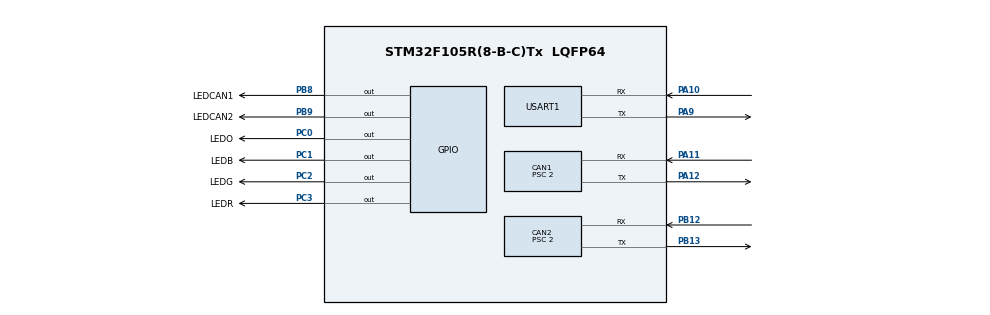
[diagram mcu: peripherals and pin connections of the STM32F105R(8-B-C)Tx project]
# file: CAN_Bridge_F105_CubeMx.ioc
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CAN1.BS1=CAN_BS1_13TQ
CAN1.BS2=CAN_BS2_2TQ
CAN1.CalculateTimeBit=4000
CAN1.CalculateTimeQuantum=250.0
CAN1.Prescaler=2
CAN2.BS1=CAN_BS1_13TQ
CAN2.BS2=CAN_BS2_2TQ
CAN2.CalculateTimeBit=4000
CAN2.CalculateTimeQuantum=250.0
CAN2.Prescaler=2
Mcu.Family=STM32F1
Mcu.Name=STM32F105R(8-B-C)Tx
Mcu.Package=LQFP64
NVIC.CAN1_RX0_IRQn=true\:0\:0\:false\:true\:true\:1\:true\:true
NVIC.CAN2_RX0_IRQn=true\:0\:0\:false\:true\:true\:2\:true\:true
NVIC.PriorityGroup=NVIC_PRIORITYGROUP_4
PA10.Mode=Asynchronous
PA10.Signal=USART1_RX
PA11.Mode=Master
PA11.Signal=CAN1_RX
PA12.Mode=Master
PA12.Signal=CAN1_TX
PA13.Signal=SYS_JTMS-SWDIO
PA14.Signal=SYS_JTCK-SWCLK
PA9.Mode=Asynchronous
PA9.Signal=USART1_TX
PB12.Mode=Slave
PB12.Signal=CAN2_RX
PB13.Mode=Slave
PB13.Signal=CAN2_TX
PB8.GPIO_Label=LEDCAN1
PB8.Signal=GPIO_Output
PB9.GPIO_Label=LEDCAN2
PB9.Signal=GPIO_Output
PC0.GPIO_Label=LEDO
PC0.Signal=GPIO_Output
PC1.GPIO_Label=LEDB
PC1.Signal=GPIO_Output
PC14-OSC32_IN.Mode=LSE-External-Oscillator
PC14-OSC32_IN.Signal=RCC_OSC32_IN
PC15-OSC32_OUT.Mode=LSE-External-Oscillator
PC15-OSC32_OUT.Signal=RCC_OSC32_OUT
PC2.GPIO_Label=LEDG
PC2.Signal=GPIO_Output
PC3.GPIO_Label=LEDR
PC3.Signal=GPIO_Output
PD0-OSC_IN.Mode=HSE-External-Oscillator
PD0-OSC_IN.Signal=RCC_OSC_IN
PD1-OSC_OUT.Mode=HSE-External-Oscillator
PD1-OSC_OUT.Signal=RCC_OSC_OUT
ProjectManager.HeapSize=0x200
ProjectManager.StackSize=0x400
ProjectManager.TargetToolchain=STM32CubeIDE
RCC.HSE_VALUE=25000000
RCC.USBFreq_Value=10666666.666666666
USART1.VirtualMode=VM_ASYNC
VP_SYS_VS_ND.Mode=No_Debug
board=custom

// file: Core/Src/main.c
/* USER CODE BEGIN Header */
/**
  ******************************************************************************
  * @file           : main.c
  * @brief          : Main program body
  ******************************************************************************
  * @attention
  *
  * <h2><center>&copy; Copyright (c) 2020 STMicroelectronics.
  * All rights reserved.</center></h2>
  *
  * This software component is licensed by ST under BSD 3-Clause license,
  * the "License"; You may not use this file except in compliance with the
  * License. You may obtain a copy of the License at:
  *                        opensource.org/licenses/BSD-3-Clause
  *
  ******************************************************************************
  */
/* USER CODE END Header */

#include "main.h"
#include "can.h"
#include "usart.h"
#include "gpio.h"
#include "string.h"

/* USER CODE BEGIN PV */

CAN_TxHeaderTypeDef   TxHeader1;
CAN_TxHeaderTypeDef   TxHeader2;
CAN_RxHeaderTypeDef   RxHeader1;
CAN_RxHeaderTypeDef   RxHeader2;
uint8_t               TxData1[8];
uint8_t               TxData2[8];
uint8_t               RxData1[8];
uint8_t               RxData2[8];
uint32_t              TxMailbox1;
uint32_t              TxMailbox2;

/* USER CODE END PV */

void SystemClock_Config(void);
/* USER CODE BEGIN PFP */
/* UART handler declaration */
UART_HandleTypeDef UartHandle;

/* Private function prototypes -----------------------------------------------*/
#ifdef __GNUC__
  /* With GCC/RAISONANCE, small printf (option LD Linker->Libraries->Small printf
     set to 'Yes') calls __io_putchar() */
  #define PUTCHAR_PROTOTYPE int __io_putchar(int ch)
#else
  #define PUTCHAR_PROTOTYPE int fputc(int ch, FILE *f)
#endif /* __GNUC__ */
/**
  * @brief  Retargets the C library printf function to the USART.
  * @param  None
  * @retval None
  */
PUTCHAR_PROTOTYPE
{
  /* Place your implementation of fputc here */
  /* e.g. write a character to the EVAL_COM1 and Loop until the end of transmission */
  HAL_UART_Transmit(&huart1, (uint8_t *)&ch, 1, 0xFFFF);

  return ch;
}
void debugPrint();
void debugPrintln();

/* USER CODE END PFP */

int main(void)
{

  /* MCU Configuration--------------------------------------------------------*/

  /* Reset of all peripherals, Initializes the Flash interface and the Systick. */
  HAL_Init();

  /* Configure the system clock */
  SystemClock_Config();

  /* Initialize all configured peripherals */
  MX_GPIO_Init();
  MX_CAN1_Init();
  MX_CAN2_Init();
  MX_USART1_UART_Init();
  /* USER CODE BEGIN 2 */

  //HAL_CAN_Start(&hcan1);
  uint8_t count = 0;

  /* Output a message on Hyperterminal using printf function */
  printf("\n\r UART Printf Example: retarget the C library printf function to the UART\n\r");
  printf("** Test finished successfully. ** \n\r");

  /* Configure Transmission process */
  TxHeader1.StdId = 0x321;
  TxHeader1.ExtId = 0x01;
  TxHeader1.RTR = CAN_RTR_DATA;
  TxHeader1.IDE = CAN_ID_STD;
  TxHeader1.DLC = 2;
  TxHeader1.TransmitGlobalTime = DISABLE;

  /* Configure Transmission process */
  TxHeader2.StdId = 0x322;
  TxHeader2.ExtId = 0x01;
  TxHeader2.RTR = CAN_RTR_DATA;
  TxHeader2.IDE = CAN_ID_STD;
  TxHeader2.DLC = 2;
  TxHeader2.TransmitGlobalTime = DISABLE;

  HAL_GPIO_TogglePin(LEDR_GPIO_Port,LEDR_Pin); //Toggle LED
  HAL_Delay(250); //Delay 1 Seconds

  HAL_GPIO_TogglePin(LEDG_GPIO_Port,LEDG_Pin); //Toggle LED
  HAL_Delay(250); //Delay 1 Seconds

  HAL_GPIO_TogglePin(LEDB_GPIO_Port,LEDB_Pin); //Toggle LED
  HAL_Delay(250); //Delay 1 Seconds

  HAL_GPIO_TogglePin(LEDO_GPIO_Port,LEDO_Pin); //Toggle LED
  HAL_Delay(250); //Delay 1 Seconds

  HAL_GPIO_TogglePin(LEDCAN1_GPIO_Port,LEDCAN1_Pin); //Toggle LED
  HAL_Delay(250); //Delay 1 Seconds

  HAL_GPIO_TogglePin(LEDCAN2_GPIO_Port,LEDCAN2_Pin); //Toggle LED
  HAL_Delay(250); //Delay 1 Seconds

  HAL_GPIO_TogglePin(LEDR_GPIO_Port,LEDR_Pin); //Toggle LED
  HAL_Delay(250); //Delay 1 Seconds

  HAL_GPIO_TogglePin(LEDG_GPIO_Port,LEDG_Pin); //Toggle LED
  HAL_Delay(250); //Delay 1 Seconds

  HAL_GPIO_TogglePin(LEDB_GPIO_Port,LEDB_Pin); //Toggle LED
  HAL_Delay(250); //Delay 1 Seconds

  HAL_GPIO_TogglePin(LEDO_GPIO_Port,LEDO_Pin); //Toggle LED
  HAL_Delay(250); //Delay 1 Seconds

  HAL_GPIO_TogglePin(LEDCAN1_GPIO_Port,LEDCAN1_Pin); //Toggle LED
  HAL_Delay(250); //Delay 1 Seconds

  HAL_GPIO_TogglePin(LEDCAN2_GPIO_Port,LEDCAN2_Pin); //Toggle LED
  HAL_Delay(250); //Delay 1 Seconds

  /* USER CODE END 2 */

  /* Infinite loop */
  /* USER CODE BEGIN WHILE */
  while (1)
  {
//	  HAL_GPIO_TogglePin(LEDR_GPIO_Port,LEDR_Pin); //Toggle LED
//
//	  HAL_Delay(250); //Delay 1 Seconds
//
//	  HAL_GPIO_TogglePin(LEDG_GPIO_Port,LEDG_Pin); //Toggle LED
//
//	  HAL_Delay(250); //Delay 1 Seconds
//
//	  HAL_GPIO_TogglePin(LEDB_GPIO_Port,LEDB_Pin); //Toggle LED
//
//	  HAL_Delay(250); //Delay 1 Seconds
//
//	  HAL_GPIO_TogglePin(LEDO_GPIO_Port,LEDO_Pin); //Toggle LED
//
//	  HAL_Delay(250); //Delay 1 Seconds

//	  HAL_GPIO_TogglePin(LEDCAN1_GPIO_Port,LEDCAN1_Pin); //Toggle LED
//
//	  HAL_Delay(250); //Delay 1 Seconds
//
//	  HAL_GPIO_TogglePin(LEDCAN2_GPIO_Port,LEDCAN2_Pin); //Toggle LED
//
//	  HAL_Delay(250); //Delay 1 Seconds

//	  TxData1[0] = 0xBE;
//	  TxData1[1] = count++;
//
//	  TxData2[0] = 0xEF;
//	  TxData2[1] = count++;

      /* Receive CAN1 */
      if (HAL_CAN_GetRxFifoFillLevel(&hcan1, CAN_RX_FIFO0) != 0){
		 if (HAL_CAN_GetRxMessage(&hcan1, CAN_RX_FIFO0, &RxHeader1, RxData1) != HAL_OK)
		 {
		   /* Reception Error */
			 HAL_GPIO_TogglePin(LEDR_GPIO_Port,LEDR_Pin); //Toggle LED
		   Error_Handler();
		   printf("CAN1 RX: Error!");

		 }
		 //printf("CAN1 RX: %lx:%x%x \n\r", RxHeader1.StdId, RxData1[0], RxData1[1]);

//		 if(RxHeader1.StdId == 0x7F1){
//			 RxData1[0] = 0x42; // SOC
//		 }
		 //if(RxHeader2.StdId != 0x588){
		 //printf("CAN_D %lx\n", RxHeader1.StdId);
		 //}

		 HAL_GPIO_TogglePin(LEDCAN2_GPIO_Port,LEDCAN2_Pin);
		 /* Start the Transmission process CAN2 */
		 if (HAL_CAN_AddTxMessage(&hcan2, &RxHeader1, RxData1, &TxMailbox2) != HAL_OK)
		 {
	 		/* Transmission request Error */
			 HAL_GPIO_TogglePin(LEDR_GPIO_Port,LEDR_Pin); //Toggle LED
	 		Error_Handler();
		 }
		 //printf("\n\r CAN2 TX: %lx:%x%x \n\r",  RxHeader1.StdId, RxData1[0], RxData1[1]);

		 HAL_GPIO_TogglePin(LEDCAN2_GPIO_Port,LEDCAN2_Pin);

      }

      /* Receive CAN2 */
      if (HAL_CAN_GetRxFifoFillLevel(&hcan2, CAN_RX_FIFO1) != 0){
		 if (HAL_CAN_GetRxMessage(&hcan2, CAN_RX_FIFO1, &RxHeader2, RxData2) != HAL_OK)
		 {
		   /* Reception Error */
			 HAL_GPIO_TogglePin(LEDR_GPIO_Port,LEDR_Pin); //Toggle LED
		   Error_Handler();
		   printf("CAN2 RX: Error!");
		 }
		 if(RxHeader2.StdId == 0x588){
			 if(RxData2[0] == 0x4b && RxData2[1] == 0x30 && RxData2[2] == 0x20 && RxData2[3] == 0x10){
			 //printf("CAN_M %lx\n", RxHeader2.StdId);
				 //printf("CAN_M RX: %lx:%x %x %x %x %x %x %x %x\n", RxHeader2.StdId, RxData2[0], RxData2[1], RxData2[2], RxData2[3], RxData2[4], RxData2[5], RxData2[6], RxData2[7]);
				 RxData2[4] = 0x9A;
				 RxData2[5] = 0x06;
			 }else if (RxData2[0] == 0x4b && RxData2[1] == 0x33 && RxData2[2] == 0x20 && RxData2[3] == 0x01) { //
				 printf("CAN_M RX: %lx:%x %x %x %x %x %x %x %x\n", RxHeader2.StdId, RxData2[0], RxData2[1], RxData2[2], RxData2[3], RxData2[4], RxData2[5], RxData2[6], RxData2[7]);
				 RxData2[4] = 0x0a;
				 //RxData2[5] = 0x01;
			}else{
				//RxData2[4] = 0x28;
			}
		 }

		 if(RxHeader2.StdId == 0x7F1){
			 RxData2[0] = 0x33;
		 }

		 HAL_GPIO_TogglePin(LEDCAN1_GPIO_Port,LEDCAN1_Pin);
	     /* Start the Transmission process CAN1*/
	     if (HAL_CAN_AddTxMessage(&hcan1, &RxHeader2, RxData2, &TxMailbox1) != HAL_OK)
	     {
	       /* Transmission request Error */
	    	 HAL_GPIO_TogglePin(LEDR_GPIO_Port,LEDR_Pin); //Toggle LED
	       Error_Handler();
	     }
	     //printf("\n\r TxData1: %x - %x \n\r", TxData1[0], TxData1[1]);

	      HAL_GPIO_TogglePin(LEDCAN1_GPIO_Port,LEDCAN1_Pin);
      }

      //HAL_Delay(10);

      //debugPrint(&huart1, "oi, mate!");        // print
      //debugPrint(&huart1, "\r\n");            // manual new line
      //debugPrintln(&huart1, "how are you?");  // print full line

    /* USER CODE END WHILE */

  }
}

void SystemClock_Config(void)
{
  RCC_OscInitTypeDef RCC_OscInitStruct = {0};
  RCC_ClkInitTypeDef RCC_ClkInitStruct = {0};

  /** Initializes the CPU, AHB and APB busses clocks
  */
  RCC_OscInitStruct.OscillatorType = RCC_OSCILLATORTYPE_HSI;
  RCC_OscInitStruct.HSIState = RCC_HSI_ON;
  RCC_OscInitStruct.HSICalibrationValue = RCC_HSICALIBRATION_DEFAULT;
  RCC_OscInitStruct.PLL.PLLState = RCC_PLL_NONE;
  RCC_OscInitStruct.PLL2.PLL2State = RCC_PLL_NONE;
  if (HAL_RCC_OscConfig(&RCC_OscInitStruct) != HAL_OK)
  {
    Error_Handler();
  }
  /** Initializes the CPU, AHB and APB busses clocks
  */
  RCC_ClkInitStruct.ClockType = RCC_CLOCKTYPE_HCLK|RCC_CLOCKTYPE_SYSCLK
                              |RCC_CLOCKTYPE_PCLK1|RCC_CLOCKTYPE_PCLK2;
  RCC_ClkInitStruct.SYSCLKSource = RCC_SYSCLKSOURCE_HSI;
  RCC_ClkInitStruct.AHBCLKDivider = RCC_SYSCLK_DIV1;
  RCC_ClkInitStruct.APB1CLKDivider = RCC_HCLK_DIV1;
  RCC_ClkInitStruct.APB2CLKDivider = RCC_HCLK_DIV1;

  if (HAL_RCC_ClockConfig(&RCC_ClkInitStruct, FLASH_LATENCY_0) != HAL_OK)
  {
    Error_Handler();
  }
  /** Configure the Systick interrupt time
  */
  __HAL_RCC_PLLI2S_ENABLE();
}

/* USER CODE BEGIN 4 */

void debugPrint(UART_HandleTypeDef *huart, char _out[])
{
	HAL_UART_Transmit(huart, (uint8_t *) _out, strlen(_out), 10);
}

void debugPrintln(UART_HandleTypeDef *huart, char _out[])
{
	HAL_UART_Transmit(huart, (uint8_t *) _out, strlen(_out), 10);
	char newline[2] = "\r\n";
	HAL_UART_Transmit(huart, (uint8_t *) newline, 2, 10);
}
/* USER CODE END 4 */

void Error_Handler(void)
{
}

/************************ (C) COPYRIGHT STMicroelectronics *****END OF FILE****/
